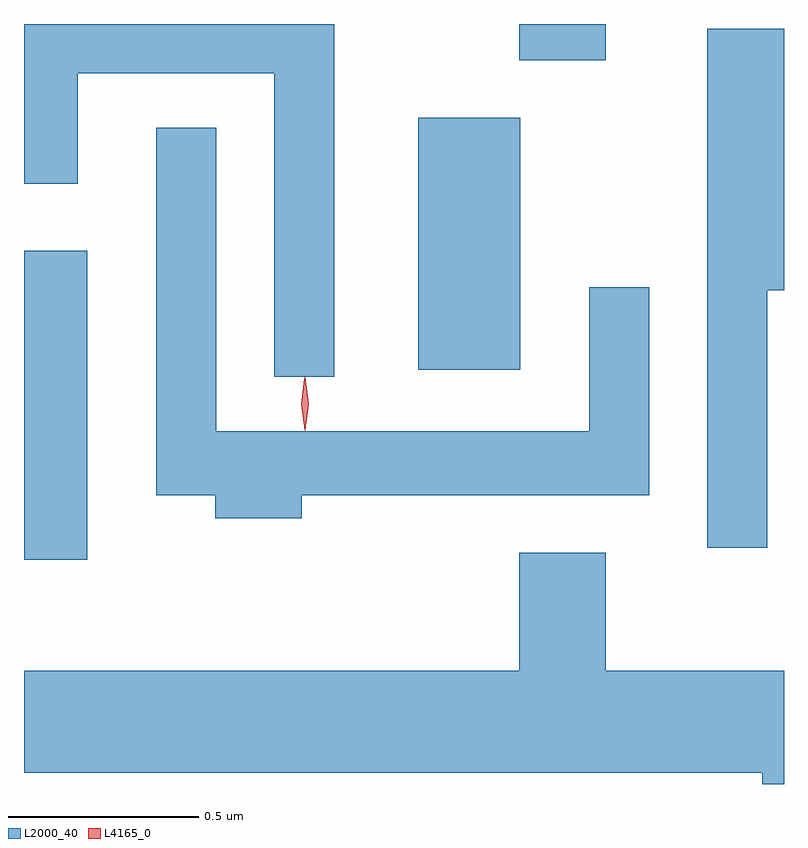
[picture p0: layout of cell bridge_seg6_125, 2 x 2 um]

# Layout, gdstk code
import gdstk
lib = gdstk.Library(unit=1e-6, precision=1e-09)
def R(c, l, rs):  # rectangles x0, y0, x1, y1
    for r in rs: c.add(gdstk.rectangle(r[:2], r[2:], *l))
def P(c, l, *ps):  # polygons
    for p in ps: c.add(gdstk.Polygon(p, *l))
L2000_40 = (2000, 40)
L4165_0 = (4165, 0)

bridge_seg6_125 = lib.new_cell('bridge_seg6_125')
R(bridge_seg6_125, L2000_40, [(1179.918,1628.296,1180.084,1629.109), (1180.956,1628.796,1181.224,1629.459), (1181.221,1629.611,1181.449,1629.706)])
P(bridge_seg6_125, L2000_40, [(1180.734,1629.706),(1179.918,1629.706),(1179.918,1629.286),(1180.059,1629.286),(1180.059,1629.576),(1180.576,1629.576),(1180.576,1628.778),(1180.734,1628.778)],
  [(1181.874,1629.006),(1181.918,1629.006),(1181.918,1629.694),(1181.716,1629.694),(1181.716,1628.328),(1181.874,1628.328)],
  [(1180.649,1628.466),(1181.564,1628.466),(1181.564,1629.013),(1181.406,1629.013),(1181.406,1628.634),(1180.424,1628.634),(1180.424,1629.433),(1180.266,1629.433),(1180.266,1628.466),(1180.421,1628.466),(1180.421,1628.406),(1180.649,1628.406)],
  [(1181.918,1628.004),(1181.449,1628.004),(1181.449,1628.314),(1181.221,1628.314),(1181.221,1628.004),(1179.918,1628.004),(1179.918,1627.736),(1181.861,1627.736),(1181.861,1627.706),(1181.918,1627.706)])
P(bridge_seg6_125, L4165_0, [(1180.657,1628.637),(1180.657,1628.637),(1180.647,1628.707),(1180.657,1628.776),(1180.657,1628.776),(1180.658,1628.776),(1180.667,1628.707),(1180.658,1628.637)],
  [(1180.657,1628.639),(1180.657,1628.64),(1180.647,1628.706),(1180.656,1628.772),(1180.657,1628.773),(1180.658,1628.772),(1180.667,1628.706),(1180.658,1628.64)])

lib.write_gds('bridge_seg6_125.gds')
